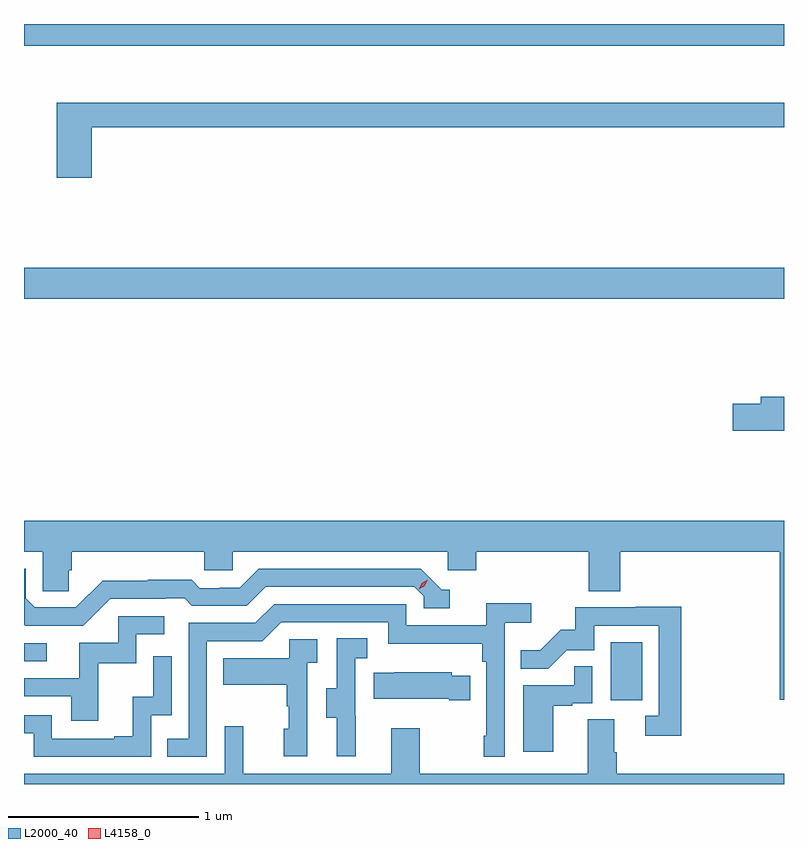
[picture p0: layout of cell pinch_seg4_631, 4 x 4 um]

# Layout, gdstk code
import gdstk
lib = gdstk.Library(unit=1e-6, precision=1e-09)
def R(c, l, rs):  # rectangles x0, y0, x1, y1
    for r in rs: c.add(gdstk.rectangle(r[:2], r[2:], *l))
def P(c, l, *ps):  # polygons
    for p in ps: c.add(gdstk.Polygon(p, *l))
L2000_40 = (2000, 40)
L4158_0 = (4158, 0)

pinch_seg4_631 = lib.new_cell('pinch_seg4_631')
R(pinch_seg4_631, L2000_40, [(1059.8,758.742,1059.964,759.049), (1056.711,758.949,1056.832,759.042), (1056.711,760.856,1060.711,761.02), (1056.711,762.188,1060.711,762.302)])
P(pinch_seg4_631, L2000_40, [(1057.067,761.758),(1060.711,761.758),(1060.711,761.887),(1056.884,761.887),(1056.884,761.493),(1057.067,761.493)],
  [(1060.711,760.34),(1060.589,760.34),(1060.589,760.304),(1060.44,760.304),(1060.44,760.162),(1060.711,760.162)],
  [(1060.711,759.688),(1056.711,759.688),(1056.711,759.524),(1056.81,759.524),(1056.81,759.316),(1056.947,759.316),(1056.947,759.426),(1056.962,759.426),(1056.962,759.524),(1057.659,759.524),(1057.659,759.426),(1057.809,759.426),(1057.809,759.524),(1058.94,759.524),(1058.94,759.426),(1059.092,759.426),(1059.092,759.524),(1059.683,759.524),(1059.683,759.316),(1059.848,759.316),(1059.848,759.524),(1060.688,759.524),(1060.688,758.745),(1060.711,758.745)],
  [(1057.164,759.276),(1057.457,759.276),(1057.457,759.279),(1057.556,759.279),(1057.595,759.24),(1057.884,759.24),(1057.983,759.339),(1058.766,759.339),(1058.814,759.291),(1058.814,759.228),(1058.953,759.228),(1058.953,759.324),(1058.91,759.324),(1058.799,759.435),(1057.946,759.435),(1057.847,759.336),(1057.74,759.336),(1057.74,759.333),(1057.637,759.333),(1057.595,759.376),(1057.362,759.376),(1057.362,759.373),(1057.126,759.373),(1056.984,759.231),(1056.768,759.231),(1056.72,759.279),(1056.72,759.435),(1056.711,759.435),(1056.711,759.141),(1056.717,759.135),(1057.023,759.135)],
  [(1057.674,759.054),(1057.965,759.054),(1058.064,759.153),(1058.628,759.153),(1058.628,759.041),(1059.124,759.041),(1059.124,758.945),(1059.144,758.945),(1059.144,758.557),(1059.132,758.557),(1059.132,758.445),(1059.24,758.445),(1059.24,759.152),(1059.382,759.152),(1059.382,759.254),(1059.143,759.254),(1059.143,759.138),(1058.724,759.138),(1058.724,759.249),(1058.027,759.249),(1057.928,759.15),(1057.578,759.15),(1057.578,758.541),(1057.465,758.541),(1057.465,758.445),(1057.674,758.445)],
  [(1060.169,759.236),(1059.931,759.236),(1059.931,759.231),(1059.613,759.231),(1059.613,759.114),(1059.536,759.114),(1059.429,759.007),(1059.325,759.007),(1059.325,758.908),(1059.469,758.908),(1059.567,759.006),(1059.711,759.006),(1059.711,759.135),(1060.053,759.135),(1060.053,758.661),(1059.981,758.661),(1059.981,758.556),(1060.169,758.556)],
  [(1057.103,758.937),(1057.302,758.937),(1057.302,759.09),(1057.45,759.09),(1057.45,759.186),(1057.206,759.186),(1057.206,759.045),(1057.001,759.045),(1057.001,758.859),(1056.711,758.859),(1056.711,758.763),(1056.959,758.763),(1056.959,758.634),(1057.103,758.634)],
  [(1058.456,758.661),(1058.454,758.661),(1058.454,758.965),(1058.518,758.965),(1058.518,759.068),(1058.358,759.068),(1058.358,758.805),(1058.303,758.805),(1058.303,758.65),(1058.357,758.65),(1058.357,758.448),(1058.456,758.448)],
  [(1058.202,758.939),(1058.254,758.939),(1058.254,759.063),(1058.106,759.063),(1058.106,758.965),(1057.759,758.965),(1057.759,758.825),(1058.094,758.825),(1058.094,758.711),(1058.104,758.711),(1058.104,758.592),(1058.078,758.592),(1058.078,758.448),(1058.202,758.448)],
  [(1057.38,758.664),(1057.488,758.664),(1057.488,758.974),(1057.392,758.974),(1057.392,758.762),(1057.283,758.762),(1057.283,758.554),(1057.187,758.554),(1057.187,758.541),(1056.858,758.541),(1056.858,758.664),(1056.711,758.664),(1056.711,758.568),(1056.762,758.568),(1056.762,758.445),(1057.38,758.445)],
  [(1059.496,758.715),(1059.596,758.715),(1059.596,758.727),(1059.702,758.727),(1059.702,758.921),(1059.607,758.921),(1059.607,758.823),(1059.338,758.823),(1059.338,758.472),(1059.496,758.472)],
  [(1059.059,758.872),(1058.961,758.872),(1058.961,758.89),(1058.659,758.89),(1058.659,758.887),(1058.551,758.887),(1058.551,758.75),(1058.948,758.75),(1058.948,758.743),(1059.059,758.743)],
  [(1060.711,758.356),(1059.83,758.356),(1059.83,758.468),(1059.817,758.468),(1059.817,758.642),(1059.677,758.642),(1059.677,758.356),(1058.793,758.356),(1058.793,758.596),(1058.645,758.596),(1058.645,758.356),(1057.865,758.356),(1057.865,758.605),(1057.767,758.605),(1057.767,758.356),(1056.711,758.356),(1056.711,758.302),(1060.711,758.302)])
P(pinch_seg4_631, L4158_0, [(1058.789,759.326),(1058.789,759.326),(1058.805,759.359),(1058.836,759.378),(1058.836,759.378),(1058.836,759.378),(1058.82,759.345),(1058.789,759.326)])

lib.write_gds('pinch_seg4_631.gds')
